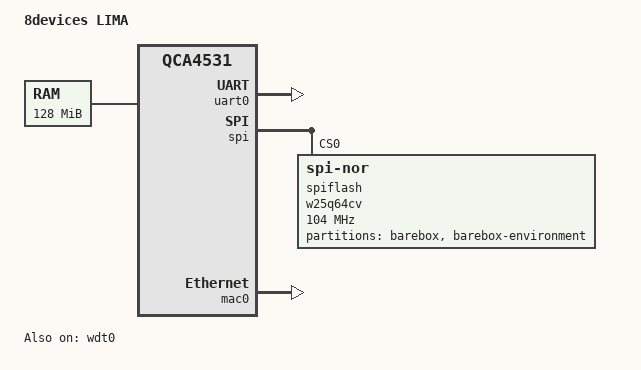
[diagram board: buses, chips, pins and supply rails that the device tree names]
/dts-v1/;

#include <dt-bindings/gpio/gpio.h>
#include <dt-bindings/input/input.h>

#include "qca4531.dtsi"

/ {
	model = "8devices LIMA";
	compatible = "8devices,lima";

	aliases {
		serial0 = &uart0;
		spiflash = &spiflash;
	};

	memory@0 {
		device_type = "memory";
		reg = <0x0 0x8000000>;
	};

	chosen {
		stdout-path = &uart0;

		environment {
			compatible = "barebox,environment";
			device-path = &spiflash, "partname:barebox-environment";
		};
	};
};

&ref {
	clock-frequency = <25000000>;
};

&uart0 {
	status = "okay";
	clock-frequency = <25000000>;
};

&wdt0 {
	status = "okay";
};

&spi {
	num-chipselects = <1>;
	status = "okay";

	/* Winbond W25Q64CV SPI flash */
	spiflash: w25q64cv@0 {
		#address-cells = <1>;
		#size-cells = <1>;
		compatible = "jedec,spi-nor", "winbond,w25q64cv";
		spi-max-frequency = <104000000>;
		reg = <0>;

		partition@0 {
			label = "barebox";
			reg = <0 0x80000>;
		};

		partition@80000 {
			label = "barebox-environment";
			reg = <0x80000 0x10000>;
		};
	};
};

&mac0 {
	status = "okay";
};
